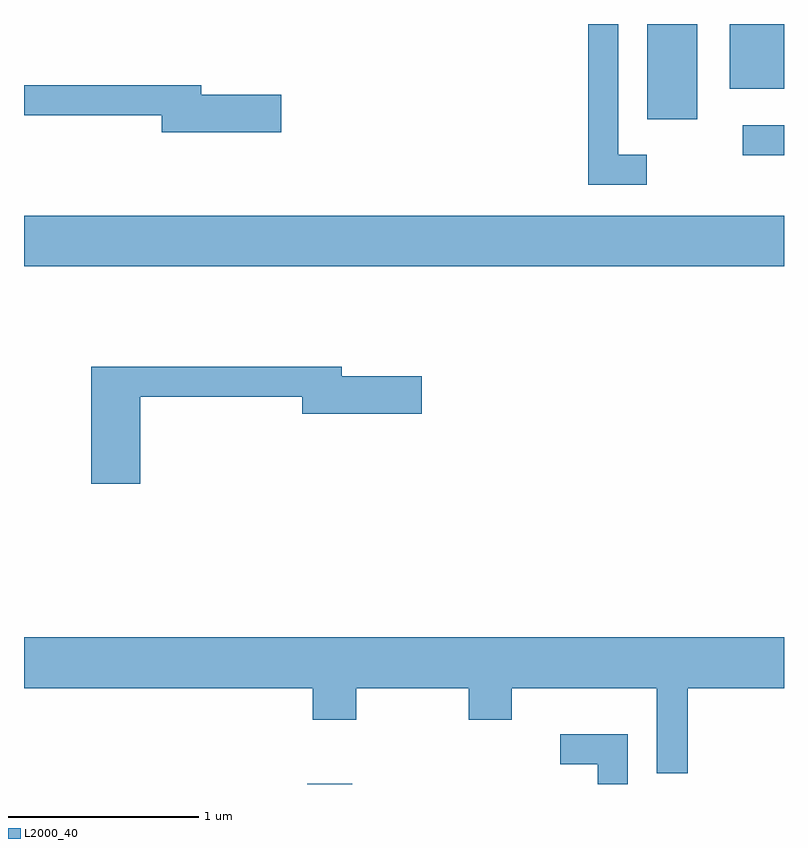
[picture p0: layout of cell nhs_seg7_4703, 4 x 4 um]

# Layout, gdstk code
import gdstk
lib = gdstk.Library(unit=1e-6, precision=1e-09)
def R(c, l, rs):  # rectangles x0, y0, x1, y1
    for r in rs: c.add(gdstk.rectangle(r[:2], r[2:], *l))
def P(c, l, *ps):  # polygons
    for p in ps: c.add(gdstk.Polygon(p, *l))
L2000_40 = (2000, 40)

nhs_seg7_4703 = lib.new_cell('nhs_seg7_4703')
R(nhs_seg7_4703, L2000_40, [(331.101,1718.252,331.339,1718.254), (329.611,1720.976,333.611,1721.244), (333.393,1721.561,333.611,1721.719), (332.891,1721.751,333.154,1722.252), (333.326,1721.911,333.611,1722.252)])
P(nhs_seg7_4703, L2000_40, [(332.888,1721.564),(332.739,1721.564),(332.739,1722.252),(332.581,1722.252),(332.581,1721.406),(332.888,1721.406)],
  [(330.964,1721.879),(330.544,1721.879),(330.544,1721.929),(329.611,1721.929),(329.611,1721.771),(330.336,1721.771),(330.336,1721.681),(330.964,1721.681)],
  [(330.224,1720.291),(331.076,1720.291),(331.076,1720.201),(331.704,1720.201),(331.704,1720.399),(331.284,1720.399),(331.284,1720.449),(329.966,1720.449),(329.966,1719.831),(330.224,1719.831)],
  [(333.104,1718.756),(333.611,1718.756),(333.611,1719.024),(329.611,1719.024),(329.611,1718.756),(331.131,1718.756),(331.131,1718.591),(331.359,1718.591),(331.359,1718.756),(331.951,1718.756),(331.951,1718.591),(332.179,1718.591),(332.179,1718.756),(332.941,1718.756),(332.941,1718.308),(333.104,1718.308)],
  [(332.789,1718.514),(332.433,1718.514),(332.433,1718.356),(332.631,1718.356),(332.631,1718.252),(332.789,1718.252)])

lib.write_gds('nhs_seg7_4703.gds')
